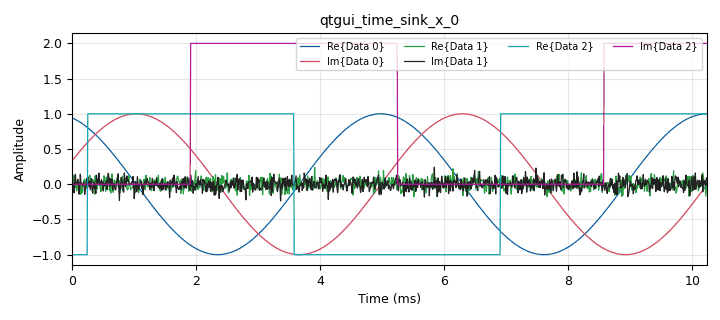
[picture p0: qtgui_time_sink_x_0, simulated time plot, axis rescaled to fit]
options:
  parameters:
    generate_options: qt_gui
    id: test_numbersink
    output_language: python
    title: Not titled yet
  states: {}

blocks:
- name: samp_rate
  id: variable
  parameters:
    value: '100000'
  states: {}
- name: analog_noise_source_x_0
  id: analog_noise_source_x
  parameters:
    amp: '0.1'
    noise_type: analog.GR_GAUSSIAN
    seed: '0'
    type: complex
  states: {}
- name: analog_sig_source_x_0
  id: analog_sig_source_x
  parameters:
    amp: '1'
    freq: '190'
    offset: '0'
    phase: '0'
    samp_rate: samp_rate
    type: complex
    waveform: analog.GR_SIN_WAVE
  states: {}
- name: analog_sig_source_x_1
  id: analog_sig_source_x
  parameters:
    amp: '2'
    freq: '150'
    offset: '-1'
    phase: '0'
    samp_rate: samp_rate
    type: complex
    waveform: analog.GR_SQR_WAVE
  states: {}
- name: blocks_complex_to_float_0
  id: blocks_complex_to_float
  parameters: {}
  states: {}
- name: blocks_throttle_0
  id: blocks_throttle
  parameters:
    samples_per_second: samp_rate
    type: complex
  states: {}
- name: eye_plot_0
  id: eye_plot
  parameters:
    nop: '1024'
    samp_rate: '32000'
    time_delay: '4'
  states: {}
- name: qtgui_number_sink_0
  id: qtgui_number_sink
  parameters:
    avg: '1'
    graph_type: qtgui.NUM_GRAPH_HORIZ
    max: '2'
    min: '-2'
    name: Amplitud
    type: float
  states: {state: disabled}
- name: qtgui_time_sink_x_0
  id: qtgui_time_sink_x
  parameters:
    ctrlpanel: 'True'
    grid: 'True'
    nconnections: '3'
    size: '1024'
    srate: samp_rate
    type: complex
  states: {}

connections:
- [analog_noise_source_x_0, '0', qtgui_time_sink_x_0, '1']
- [analog_sig_source_x_0, '0', blocks_throttle_0, '0']
- [analog_sig_source_x_1, '0', qtgui_time_sink_x_0, '2']
- [blocks_complex_to_float_0, '0', eye_plot_0, '0']
- [blocks_complex_to_float_0, '0', qtgui_number_sink_0, '0']
- [blocks_throttle_0, '0', blocks_complex_to_float_0, '0']
- [blocks_throttle_0, '0', qtgui_time_sink_x_0, '0']

metadata:
  file_format: 1
  grc_version: 3.10.4.0
